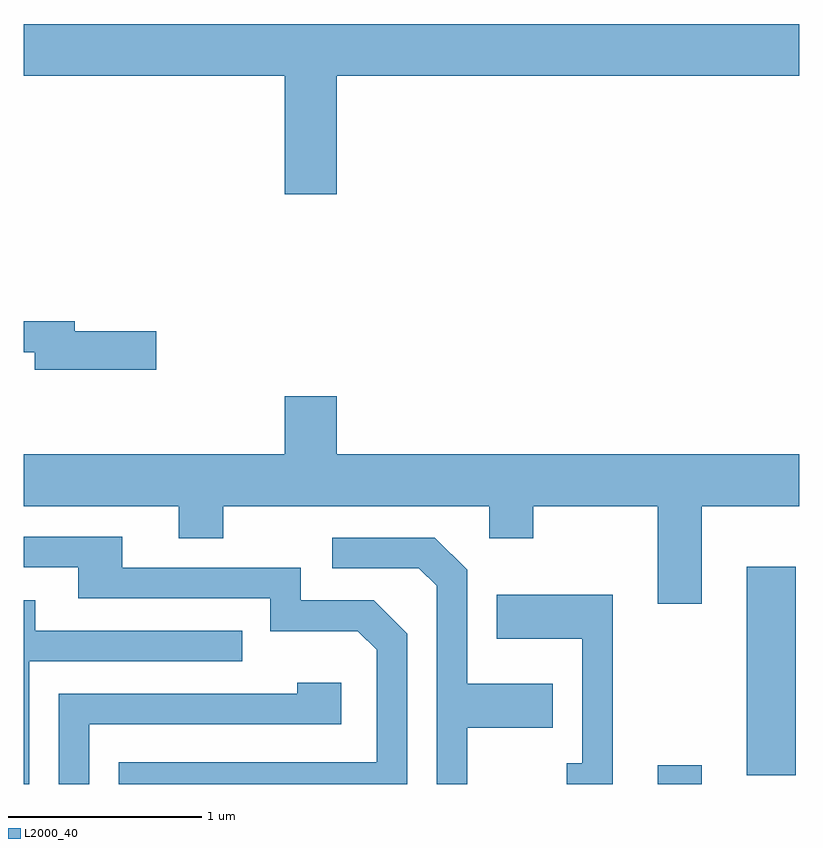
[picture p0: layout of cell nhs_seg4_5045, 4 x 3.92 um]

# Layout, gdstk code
import gdstk
lib = gdstk.Library(unit=1e-6, precision=1e-09)
def R(c, l, rs):  # rectangles x0, y0, x1, y1
    for r in rs: c.add(gdstk.rectangle(r[:2], r[2:], *l))
def P(c, l, *ps):  # polygons
    for p in ps: c.add(gdstk.Polygon(p, *l))
L2000_40 = (2000, 40)

nhs_seg4_5045 = lib.new_cell('nhs_seg4_5045')
R(nhs_seg4_5045, L2000_40, [(336.881,1279.982,337.109,1280.079), (337.341,1280.026,337.594,1281.104)])
P(nhs_seg4_5045, L2000_40, [(335.224,1283.636),(337.611,1283.636),(337.611,1283.904),(333.611,1283.904),(333.611,1283.636),(334.956,1283.636),(334.956,1283.026),(335.224,1283.026)],
  [(334.294,1282.319),(333.874,1282.319),(333.874,1282.369),(333.611,1282.369),(333.611,1282.211),(333.666,1282.211),(333.666,1282.121),(334.294,1282.121)],
  [(335.224,1281.984),(334.956,1281.984),(334.956,1281.684),(333.611,1281.684),(333.611,1281.416),(334.411,1281.416),(334.411,1281.251),(334.639,1281.251),(334.639,1281.416),(336.011,1281.416),(336.011,1281.251),(336.239,1281.251),(336.239,1281.416),(336.881,1281.416),(336.881,1280.911),(337.109,1280.911),(337.109,1281.416),(337.611,1281.416),(337.611,1281.684),(335.224,1281.684)],
  [(335.589,1280.757),(335.417,1280.929),(335.039,1280.929),(335.039,1281.099),(334.119,1281.099),(334.119,1281.259),(333.611,1281.259),(333.611,1281.101),(333.891,1281.101),(333.891,1280.941),(334.881,1280.941),(334.881,1280.771),(335.334,1280.771),(335.431,1280.674),(335.431,1280.094),(334.101,1280.094),(334.101,1279.982),(335.589,1279.982)],
  [(335.899,1280.271),(336.339,1280.271),(336.339,1280.499),(335.899,1280.499),(335.899,1281.087),(335.732,1281.254),(335.203,1281.254),(335.203,1281.096),(335.649,1281.096),(335.741,1281.004),(335.741,1279.982),(335.899,1279.982)],
  [(336.649,1280.959),(336.051,1280.959),(336.051,1280.731),(336.491,1280.731),(336.491,1280.089),(336.413,1280.089),(336.413,1279.982),(336.649,1279.982)],
  [(333.639,1280.616),(334.738,1280.616),(334.738,1280.774),(333.669,1280.774),(333.669,1280.929),(333.611,1280.929),(333.611,1279.982),(333.639,1279.982)],
  [(333.949,1280.291),(335.249,1280.291),(335.249,1280.504),(335.021,1280.504),(335.021,1280.449),(333.791,1280.449),(333.791,1279.982),(333.949,1279.982)])

lib.write_gds('nhs_seg4_5045.gds')
